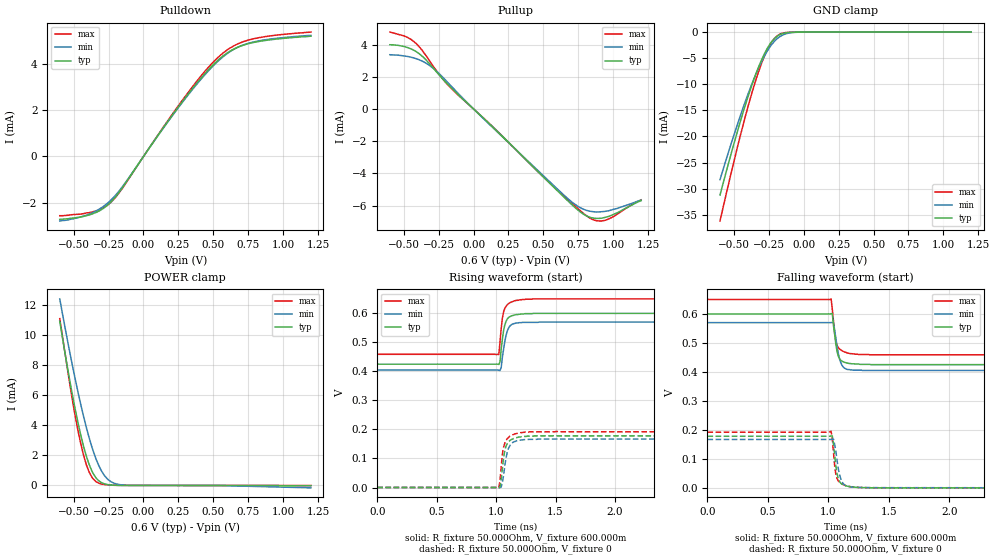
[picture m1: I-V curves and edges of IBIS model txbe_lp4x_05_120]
| [Disclaimer]
| Copyright (c) 2020 Synopsys Inc.All rights reserved
| From a733_lpddr4x_allwinner_v0p1.ibs, dwc_ddrphy_txbe, allwinner
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[Model] txbe_lp4x_05_120
Model_type   I/O
Polarity   Non-Inverting
Enable   Active-High
C_comp   1.523pF   1.517pF   1.527pF
C_comp_pullup   281.396fF   276.622fF   283.141fF
C_comp_pulldown 1.179pF   1.179pF   1.183pF
Vinh = 360.000mV
Vinl = 307.000mV
Vmeas = 300.000mV
Vref = 300.000mV
Rref = 50Ohms
Cref = 0pF
[Model Spec]
Vinh   360.000mV   345.000mV   450.000mV
Vinl   307.000mV   293.000mV   330.000mV
Vmeas   300.000mV   285.000mV   325.000mV
Vref   300.000mV   285.000mV   325.000mV
D_overshoot_ampl_h 0.1 NA   NA
D_overshoot_ampl_l 0.1 NA   NA
D_overshoot_area_l 300.000m NA   NA
D_overshoot_area_h 300.000m NA   NA
[Receiver Thresholds]
Vth = 163.000mV
Vth_min = 143.000mV
Vth_max = 150.000mV
Vinh_ac = 60.000mV
Vinh_dc = 60.000mV
Vinl_ac = -60.000mV
Vinl_dc = -60.000mV
Tslew_ac = 5.000ns
Threshold_sensitivity = 0.5
Reference_supply Pullup_ref
[Temperature Range]   25.000   125.000   -40.000
[Voltage Range]   600.000mV   570.000mV   650.000mV
[GND Clamp Reference]   0.00V   0.00V   0.00V
[C Comp Corner]
| variable   typ   min   max
C_comp 1.523pF   1.527pF   1.517pF
C_comp_pullup 281.396fF   283.141fF   276.622fF
C_comp_pulldown 1.179pF   1.183pF   1.179pF
[Pulldown Reference]   0.00V   0.00V   0.00V
[POWER Clamp Reference]   600.000mV   570.000mV   650.000mV
[Pullup Reference]   600.000mV   570.000mV   650.000mV
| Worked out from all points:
|   slope of the pulldown table from 0 to 0.09 V, typ, clamps not added: 113 ohm
|   slope of the pullup table from 0 to 0.09 V, typ, clamps not added: 124 ohm
|   GND clamp passes 1 mA (typ) near -0.20 V on its own axis
|   POWER clamp passes 1 mA (typ) near -0.37 V on its own axis
|   rising waveform, R_fixture 50.000Ohm, V_fixture 600.000m: 20-80 % time 38.2ps typ, 42.7ps min, 37.3ps max; typ from 0.425 V to 0.6 V
|   rising waveform, R_fixture 50.000Ohm, V_fixture 0: 20-80 % time 38.7ps typ, 43ps min, 38.1ps max; typ from 0 V to 0.178 V
|   falling waveform, R_fixture 50.000Ohm, V_fixture 600.000m: 20-80 % time 37.4ps typ, 43.8ps min, 34.5ps max; typ from 0.6 V to 0.425 V
|   falling waveform, R_fixture 50.000Ohm, V_fixture 0: 20-80 % time 35.6ps typ, 41.9ps min, 32ps max; typ from 0.178 V to 0 V
[GND Clamp]
-600mV    -31.22mA   -28.27mA   -36.19mA
-520mV    -23.28mA   -21.37mA   -26.99mA
-450mV    -16.74mA   -15.69mA   -19.38mA
-390mV    -11.62mA   -11.22mA   -13.38mA
-350mV    -8.525mA   -8.504mA   -9.76mA
-300mV    -5.19mA    -5.531mA   -5.831mA
-260mV    -3.064mA   -3.57mA    -3.325mA
-230mV    -1.852mA   -2.39mA    -1.909mA
-190mV    -786.8uA   -1.239mA   -707.9uA
-130mV    -143.8uA   -342.1uA   -87.78uA
-40mV     -4.532uA   -19.09uA   -1.525uA
1.2V      1.311uA    15.49uA    381.8nA
[Power Clamp]
-600mV    10.91mA    12.39mA    11.07mA
-540mV    7.576mA    9.402mA    7.435mA
-490mV    5.088mA    7.093mA    4.645mA
-450mV    3.363mA    5.394mA    2.787mA
-410mV    1.961mA    3.868mA    1.391mA
-370mV    961.9uA    2.559mA    550.9uA
-340mV    496.2uA    1.753mA    248.6uA
-300mV    180.3uA    945.4uA    90.25uA
-250mV    46.9uA     359uA      29.19uA
-190mV    8.475uA    89.17uA    6.144uA
-120mV    854.5nA    14.07uA    451.4nA
1.2V      -21.99uA   -159.5uA   -4.464uA
[Pulldown]
-600mV    -2.73mA    -2.8mA     -2.57mA
-370mV    -2.5mA     -2.455mA   -2.41mA
-300mV    -2.302mA   -2.221mA   -2.264mA
-230mV    -1.956mA   -1.872mA   -1.968mA
-150mV    -1.346mA   -1.302mA   -1.371mA
110mV     970.1uA    955.3uA    989.4uA
310mV     2.632mA    2.593mA    2.695mA
460mV     3.73mA     3.679mA    3.833mA
570mV     4.362mA    4.325mA    4.487mA
660mV     4.698mA    4.691mA    4.839mA
770mV     4.921mA    4.94mA     5.078mA
1.2V      5.22mA     5.25mA     5.399mA
[Pullup]
-600mV    3.99mA     3.37mA     4.779mA
-490mV    3.86mA     3.284mA    4.508mA
-430mV    3.656mA    3.175mA    4.202mA
-370mV    3.29mA     2.981mA    3.656mA
-300mV    2.65mA     2.603mA    2.79mA
-150mV    1.224mA    1.326mA    1.191mA
650mV     -5.49mA    -5.367mA   -5.409mA
750mV     -6.291mA   -6.053mA   -6.2mA
830mV     -6.71mA    -6.34mA    -6.754mA
880mV     -6.79mA    -6.391mA   -6.933mA
950mV     -6.711mA   -6.34mA    -6.886mA
1.2V      -5.69mA    -5.65mA    -5.64mA
[Ramp]
R_load=50.000Ohm
dV/dt_r   105.883mV/39.000ps  99.468mV/43.500ps  114.897mV/38.500ps
dV/dt_f   105.882mV/37.000ps  99.468mV/43.500ps  114.896mV/34.000ps
[Rising waveform]
R_fixture=50.000Ohm
V_fixture=600.000m
V_fixture_min=570.000m
V_fixture_max=650.000m
0s        425mV      405mV      459mV
1.023ns   424mV      404mV      458mV
1.033ns   433mV      403mV      505mV
1.043ns   478mV      414mV      548mV
1.053ns   512mV      450mV      584mV
1.073ns   560mV      503mV      617mV
1.093ns   580mV      538mV      629mV
1.123ns   590mV      559mV      638mV
1.253ns   599mV      569mV      649mV
10ns      600mV      570mV      650mV
[Rising waveform]
R_fixture=50.000Ohm
V_fixture=0
0s        55.56uV    439uV      10.79uV
1.023ns   -1.151mV   14.4uV     -777.5uV
1.033ns   2.133mV    -768.9uV   26.31mV
1.053ns   66.23mV    17.64mV    116mV
1.063ns   103mV      41.48mV    139mV
1.083ns   142mV      101mV      162mV
1.103ns   157mV      134mV      172mV
1.133ns   166mV      153mV      181mV
1.283ns   177mV      166mV      192mV
10ns      178mV      167mV      192mV
[Falling waveform]
R_fixture=50.000Ohm
V_fixture=600.000m
V_fixture_min=570.000m
V_fixture_max=650.000m
0s        600mV      570mV      650mV
1.023ns   601mV      570mV      652mV
1.033ns   601mV      571mV      616mV
1.043ns   559mV      571mV      575mV
1.053ns   528mV      542mV      531mV
1.073ns   469mV      486mV      491mV
1.093ns   445mV      445mV      479mV
1.123ns   435mV      417mV      471mV
1.253ns   427mV      406mV      460mV
10ns      425mV      405mV      459mV
[Falling waveform]
R_fixture=50.000Ohm
V_fixture=0
0s        178mV      167mV      192mV
1.023ns   179mV      167mV      195mV
1.033ns   179mV      168mV      168mV
1.043ns   149mV      168mV      119mV
1.053ns   112mV      149mV      73.22mV
1.073ns   47.5mV     92.75mV    31.15mV
1.093ns   21.62mV    45.68mV    19.47mV
1.123ns   10.29mV    14.69mV    11.3mV
1.253ns   1.3mV      1.494mV    1.33mV
10ns      60.32uV    439.6uV    14.03uV
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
